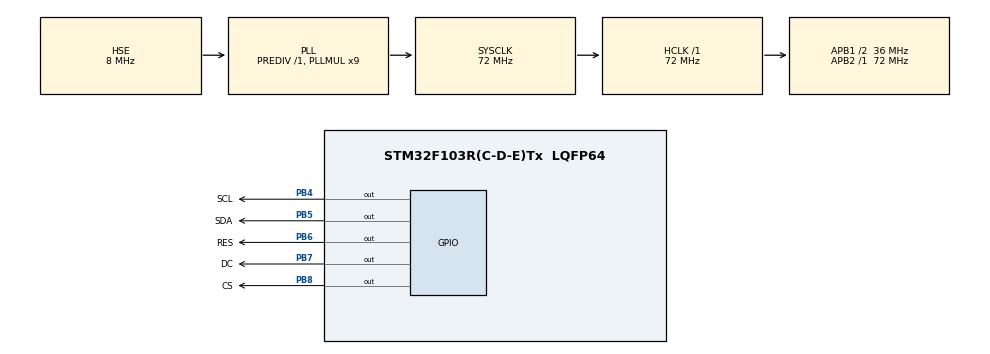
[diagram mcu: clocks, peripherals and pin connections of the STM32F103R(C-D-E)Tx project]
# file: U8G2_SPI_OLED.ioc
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Mcu.Family=STM32F1
Mcu.Name=STM32F103R(C-D-E)Tx
Mcu.Package=LQFP64
NVIC.PriorityGroup=NVIC_PRIORITYGROUP_4
PA13.Mode=Serial_Wire
PA13.Signal=SYS_JTMS-SWDIO
PA14.Mode=Serial_Wire
PA14.Signal=SYS_JTCK-SWCLK
PB4.GPIO_Label=SCL
PB4.GPIO_ModeDefaultOutputPP=GPIO_MODE_OUTPUT_OD
PB4.GPIO_PuPd=GPIO_NOPULL
PB4.GPIO_Speed=GPIO_SPEED_FREQ_HIGH
PB4.Signal=GPIO_Output
PB5.GPIO_Label=SDA
PB5.GPIO_ModeDefaultOutputPP=GPIO_MODE_OUTPUT_OD
PB5.GPIO_PuPd=GPIO_NOPULL
PB5.GPIO_Speed=GPIO_SPEED_FREQ_HIGH
PB5.Signal=GPIO_Output
PB6.GPIO_Label=RES
PB6.GPIO_Speed=GPIO_SPEED_FREQ_HIGH
PB6.Signal=GPIO_Output
PB7.GPIO_Label=DC
PB7.GPIO_Speed=GPIO_SPEED_FREQ_HIGH
PB7.Signal=GPIO_Output
PB8.GPIO_Label=CS
PB8.GPIO_ModeDefaultOutputPP=GPIO_MODE_OUTPUT_PP
PB8.GPIO_PuPd=GPIO_NOPULL
PB8.GPIO_Speed=GPIO_SPEED_FREQ_HIGH
PB8.Signal=GPIO_Output
PD0-OSC_IN.Mode=HSE-External-Oscillator
PD0-OSC_IN.Signal=RCC_OSC_IN
PD1-OSC_OUT.Mode=HSE-External-Oscillator
PD1-OSC_OUT.Signal=RCC_OSC_OUT
ProjectManager.HeapSize=0x200
ProjectManager.StackSize=0x400
ProjectManager.TargetToolchain=Makefile
RCC.AHBFreq_Value=72000000
RCC.APB1CLKDivider=RCC_HCLK_DIV2
RCC.APB1Freq_Value=36000000
RCC.APB1TimFreq_Value=72000000
RCC.APB2Freq_Value=72000000
RCC.APB2TimFreq_Value=72000000
RCC.HCLKFreq_Value=72000000
RCC.PLLMUL=RCC_PLL_MUL9
RCC.PLLSourceVirtual=RCC_PLLSOURCE_HSE
RCC.SYSCLKFreq_VALUE=72000000
RCC.SYSCLKSource=RCC_SYSCLKSOURCE_PLLCLK
RCC.USBFreq_Value=72000000
TIM4.Prescaler=72-1
VP_TIM4_VS_ClockSourceINT.Mode=Internal
board=custom

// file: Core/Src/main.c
/* USER CODE BEGIN Header */
/**
 ******************************************************************************
 * @file           : main.c
 * @brief          : Main program body
 ******************************************************************************
 * @attention
 *
 * Copyright (c) 2023 STMicroelectronics.
 * All rights reserved.
 *
 * This software is licensed under terms that can be found in the LICENSE file
 * in the root directory of this software component.
 * If no LICENSE file comes with this software, it is provided AS-IS.
 *
 ******************************************************************************
 */
/* USER CODE END Header */
#include "main.h"
#include "tim.h"
#include "gpio.h"

/* USER CODE BEGIN Includes */
#include "u8g2_user.h"
/* USER CODE END Includes */

void SystemClock_Config(void);

/* USER CODE BEGIN 0 */
void draw(u8g2_t *u8g2)
{
    u8g2_SetFontMode(u8g2, 1);              /*字体模式选择*/
    u8g2_SetFontDirection(u8g2, 0);         /*字体方向选择*/
    u8g2_SetFont(u8g2, u8g2_font_inb24_mf); /*字库选择*/
    u8g2_DrawStr(u8g2, 0, 20, "U");

    u8g2_SetFontDirection(u8g2, 1);
    u8g2_SetFont(u8g2, u8g2_font_inb30_mn);
    u8g2_DrawStr(u8g2, 21, 8, "8");

    u8g2_SetFontDirection(u8g2, 0);
    u8g2_SetFont(u8g2, u8g2_font_inb24_mf);
    u8g2_DrawStr(u8g2, 51, 30, "g");
    u8g2_DrawStr(u8g2, 67, 30, "\xb2");

    u8g2_DrawHLine(u8g2, 2, 35, 47);
    u8g2_DrawHLine(u8g2, 3, 36, 47);
    u8g2_DrawVLine(u8g2, 45, 32, 12);
    u8g2_DrawVLine(u8g2, 46, 33, 12);

    u8g2_SetFont(u8g2, u8g2_font_4x6_tr);
    u8g2_DrawStr(u8g2, 1, 54, "github.com/olikraus/u8g2");

    u8g2_SendBuffer(u8g2);
}
/* USER CODE END 0 */

int main(void)
{

    /* MCU Configuration--------------------------------------------------------*/

    /* Reset of all peripherals, Initializes the Flash interface and the Systick. */
    HAL_Init();

    /* Configure the system clock */
    SystemClock_Config();

    /* Initialize all configured peripherals */
    MX_GPIO_Init();
    MX_TIM4_Init();
    /* USER CODE BEGIN 2 */
    u8g2_t u8g2; // a structure which will contain all the data for one display
    OLED_Init(&u8g2);
    draw(&u8g2);
    // u8g2_DrawFrame(&u8g2, 30, 30, 30, 30);
    // u8g2_DrawPixel(&u8g2, 40, 40);
    u8g2_SendBuffer(&u8g2);
    /* USER CODE END 2 */

    /* Infinite loop */
    while (1) {

    }
}

void SystemClock_Config(void)
{
    RCC_OscInitTypeDef RCC_OscInitStruct = {0};
    RCC_ClkInitTypeDef RCC_ClkInitStruct = {0};

    /** Initializes the RCC Oscillators according to the specified parameters
     * in the RCC_OscInitTypeDef structure.
     */
    RCC_OscInitStruct.OscillatorType = RCC_OSCILLATORTYPE_HSE;
    RCC_OscInitStruct.HSEState       = RCC_HSE_ON;
    RCC_OscInitStruct.HSEPredivValue = RCC_HSE_PREDIV_DIV1;
    RCC_OscInitStruct.HSIState       = RCC_HSI_ON;
    RCC_OscInitStruct.PLL.PLLState   = RCC_PLL_ON;
    RCC_OscInitStruct.PLL.PLLSource  = RCC_PLLSOURCE_HSE;
    RCC_OscInitStruct.PLL.PLLMUL     = RCC_PLL_MUL9;
    if (HAL_RCC_OscConfig(&RCC_OscInitStruct) != HAL_OK) {
        Error_Handler();
    }

    /** Initializes the CPU, AHB and APB buses clocks
     */
    RCC_ClkInitStruct.ClockType      = RCC_CLOCKTYPE_HCLK | RCC_CLOCKTYPE_SYSCLK | RCC_CLOCKTYPE_PCLK1 | RCC_CLOCKTYPE_PCLK2;
    RCC_ClkInitStruct.SYSCLKSource   = RCC_SYSCLKSOURCE_PLLCLK;
    RCC_ClkInitStruct.AHBCLKDivider  = RCC_SYSCLK_DIV1;
    RCC_ClkInitStruct.APB1CLKDivider = RCC_HCLK_DIV2;
    RCC_ClkInitStruct.APB2CLKDivider = RCC_HCLK_DIV1;

    if (HAL_RCC_ClockConfig(&RCC_ClkInitStruct, FLASH_LATENCY_2) != HAL_OK) {
        Error_Handler();
    }
}

void Error_Handler(void)
{
    __disable_irq();
    while (1) {
    }
}
